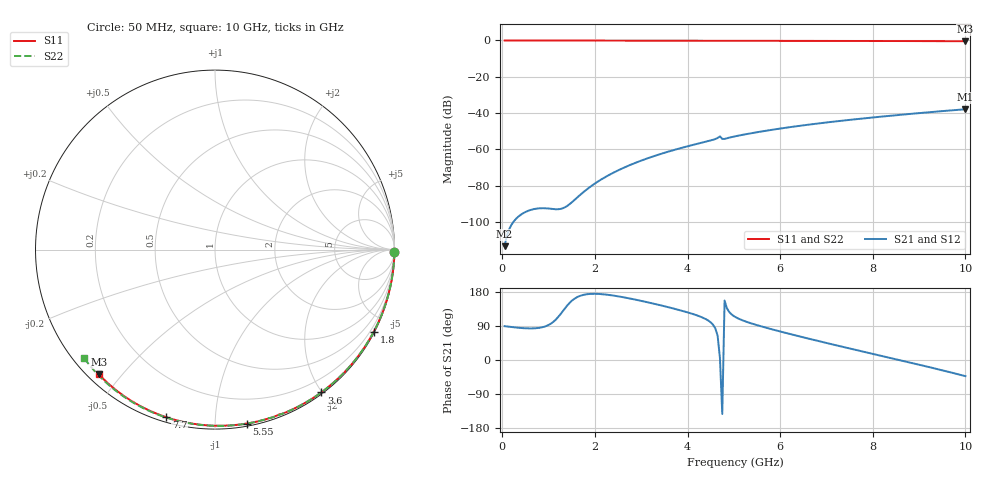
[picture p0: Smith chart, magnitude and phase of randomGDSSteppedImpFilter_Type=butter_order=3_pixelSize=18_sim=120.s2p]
! freq	dB(S11)	phase(S11)	dB(S12)	phase(S12)
!  dB(S21)	phase(S21)	dB(S22)	phase(S22)
!S-par simulation data
#  GHz  S  DB  R 50
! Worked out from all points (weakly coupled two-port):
!   200 points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, 50 MHz to 10 GHz, reference 50 ohm
!   highest |S21| = -37.89 dB at 10 GHz (marker M1); lowest = -113.3 dB at 50 MHz (marker M2)
!   lowest |S11| = -0.4 dB at 10 GHz (marker M3), VSWR 38.88, Z = 1.53 - j21.8 ohm
!   |S11| at or under -10 dB: nowhere
!   |S22| runs from -0.5 to 0.0 dB; largest |S21 - S12| = 0
!   S11 on the Smith chart (normalised r, x): 50 MHz: open; 1.8 GHz: 0.04, -4.12; 3.6 GHz: 0.02, -1.99; 5.55 GHz: 0.02, -1.20; 7.7 GHz: 0.02, -0.75; 10 GHz: 0.03, -0.44
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0.05  -0.00 -0.8  -113.29 89.2  -113.29 89.2  -0.00 -0.8
0.9  -0.02 -13.8  -92.38 87.6  -92.38 87.6  -0.02 -14.6
1.75  -0.03 -26.6  -83.56 171.8  -83.56 171.8  -0.04 -28.1
1.8  -0.03 -27.3  -82.52 173.0  -82.52 173.0  -0.04 -28.9
1.95  -0.04 -29.5  -79.66 174.6  -79.66 174.6  -0.04 -31.3
2.25  -0.04 -33.9  -74.85 172.5  -74.85 172.5  -0.05 -36.0
2.55  -0.05 -38.3  -70.94 167.0  -70.94 167.0  -0.05 -40.6
2.95  -0.06 -44.1  -66.64 157.4  -66.64 157.4  -0.06 -46.7
3.4  -0.07 -50.5  -62.67 144.9  -62.67 144.9  -0.07 -53.5
3.6  -0.07 -53.3  -61.11 138.9  -61.11 138.9  -0.08 -56.4
4.55  -0.10 -66.5  -54.71 93.3  -54.71 93.3  -0.10 -70.2
4.65  -0.10 -67.8  -53.72 63.9  -53.72 63.9  -0.11 -71.7
4.7  -0.12 -68.6  -52.82 4.6  -52.82 4.6  -0.13 -72.5
4.75  -0.13 -69.0  -54.22 -142.5  -54.22 -142.5  -0.13 -72.9
4.8  -0.11 -69.7  -54.24 157.0  -54.24 157.0  -0.12 -73.6
5.05  -0.11 -73.1  -52.67 112.5  -52.67 112.5  -0.12 -77.2
5.55  -0.13 -79.6  -50.32 90.2  -50.32 90.2  -0.14 -84.1
6.7  -0.18 -94.1  -46.09 53.8  -46.09 53.8  -0.19 -99.4
7.7  -0.24 -106.2  -43.19 24.7  -43.19 24.7  -0.26 -112.1
8.35  -0.29 -113.9  -41.54 6.2  -41.54 6.2  -0.31 -120.3
9.2  -0.37 -123.8  -39.56 -18.2  -39.56 -18.2  -0.39 -130.7
10  -0.45 -132.9  -37.89 -42.6  -37.89 -42.6  -0.47 -140.5
